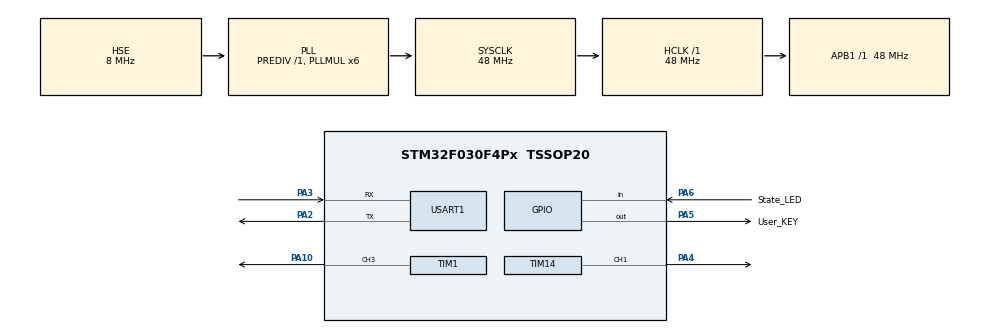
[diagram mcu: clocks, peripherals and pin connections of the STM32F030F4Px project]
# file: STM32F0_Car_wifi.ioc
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Mcu.Family=STM32F0
Mcu.Name=STM32F030F4Px
Mcu.Package=TSSOP20
PA10.Signal=S_TIM1_CH3
PA13.Mode=Serial_Wire
PA13.Signal=SYS_SWDIO
PA14.Mode=Serial_Wire
PA14.Signal=SYS_SWCLK
PA2.Mode=Asynchronous
PA2.Signal=USART1_TX
PA3.Mode=Asynchronous
PA3.Signal=USART1_RX
PA4.Signal=S_TIM14_CH1
PA5.GPIO_Label=User_KEY
PA5.GPIO_Speed=GPIO_SPEED_FREQ_HIGH
PA5.Signal=GPIO_Output
PA6.GPIO_Label=State_LED
PA6.GPIO_PuPd=GPIO_PULLUP
PA6.Signal=GPIO_Input
PB1.Signal=TIM1_CH3N
PF0-OSC_IN.Mode=HSE-External-Clock-Source
PF0-OSC_IN.Signal=RCC_OSC_IN
ProjectManager.HeapSize=0x200
ProjectManager.StackSize=0x400
ProjectManager.TargetToolchain=MDK-ARM V5
RCC.AHBFreq_Value=48000000
RCC.APB1Freq_Value=48000000
RCC.APB1TimFreq_Value=48000000
RCC.HCLKFreq_Value=48000000
RCC.PLLMUL=RCC_PLL_MUL6
RCC.PLLSourceVirtual=RCC_PLLSOURCE_HSE
RCC.SYSCLKFreq_VALUE=48000000
RCC.SYSCLKSource=RCC_SYSCLKSOURCE_PLLCLK
SH.S_TIM14_CH1.0=TIM14_CH1,PWM Generation1 CH1
SH.S_TIM1_CH3.0=TIM1_CH3,Output Compare3 CH3
TIM1.AutoReloadPreload=TIM_AUTORELOAD_PRELOAD_ENABLE
TIM1.BreakState=TIM_BREAK_DISABLE
TIM1.Channel-Output\ Compare3\ CH3=TIM_CHANNEL_3
TIM1.Period=40
TIM1.Prescaler=48
TIM14.Channel=TIM_CHANNEL_1
USART1.VirtualMode-Asynchronous=VM_ASYNC
VP_TIM14_VS_ClockSourceINT.Mode=Enable_Timer
VP_TIM1_VS_ClockSourceINT.Mode=Internal
VP_TIM3_VS_ClockSourceINT.Mode=Internal
board=STM32F0_Car_wifi

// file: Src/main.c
/**
  ******************************************************************************
  * @file           : main.c
  * @brief          : Main program body
  ******************************************************************************
  ** This notice applies to any and all portions of this file
  * that are not between comment pairs USER CODE BEGIN and
  * USER CODE END. Other portions of this file, whether
  * inserted by the user or by software development tools
  * are owned by their respective copyright owners.
  *
  * COPYRIGHT(c) 2018 STMicroelectronics
  *
  * Redistribution and use in source and binary forms, with or without modification,
  * are permitted provided that the following conditions are met:
  *   1. Redistributions of source code must retain the above copyright notice,
  *      this list of conditions and the following disclaimer.
  *   2. Redistributions in binary form must reproduce the above copyright notice,
  *      this list of conditions and the following disclaimer in the documentation
  *      and/or other materials provided with the distribution.
  *   3. Neither the name of STMicroelectronics nor the names of its contributors
  *      may be used to endorse or promote products derived from this software
  *      without specific prior written permission.
  *
  * THIS SOFTWARE IS PROVIDED BY THE COPYRIGHT HOLDERS AND CONTRIBUTORS "AS IS"
  * AND ANY EXPRESS OR IMPLIED WARRANTIES, INCLUDING, BUT NOT LIMITED TO, THE
  * IMPLIED WARRANTIES OF MERCHANTABILITY AND FITNESS FOR A PARTICULAR PURPOSE ARE
  * DISCLAIMED. IN NO EVENT SHALL THE COPYRIGHT HOLDER OR CONTRIBUTORS BE LIABLE
  * FOR ANY DIRECT, INDIRECT, INCIDENTAL, SPECIAL, EXEMPLARY, OR CONSEQUENTIAL
  * DAMAGES (INCLUDING, BUT NOT LIMITED TO, PROCUREMENT OF SUBSTITUTE GOODS OR
  * SERVICES; LOSS OF USE, DATA, OR PROFITS; OR BUSINESS INTERRUPTION) HOWEVER
  * CAUSED AND ON ANY THEORY OF LIABILITY, WHETHER IN CONTRACT, STRICT LIABILITY,
  * OR TORT (INCLUDING NEGLIGENCE OR OTHERWISE) ARISING IN ANY WAY OUT OF THE USE
  * OF THIS SOFTWARE, EVEN IF ADVISED OF THE POSSIBILITY OF SUCH DAMAGE.
  *
  ******************************************************************************
  */
#include "main.h"
#include "stm32f0xx_hal.h"

TIM_HandleTypeDef htim1;
TIM_HandleTypeDef htim3;
TIM_HandleTypeDef htim14;

UART_HandleTypeDef huart1;

/* USER CODE BEGIN PV */
/* Private variables ---------------------------------------------------------*/
/*        可以接收的最大字符个数        */
#define BUFFERSIZE 255
uint8_t ReceiveBuff[BUFFERSIZE];         //接收缓冲区
uint8_t recv_end_flag = 0,Rx_len;        //接收完成中断，接收到字符长度

/* USER CODE END PV */

void SystemClock_Config(void);
static void MX_GPIO_Init(void);
static void MX_TIM1_Init(void);
static void MX_USART1_UART_Init(void);
static void MX_TIM14_Init(void);
static void MX_TIM3_Init(void);
void HAL_TIM_MspPostInit(TIM_HandleTypeDef *htim);

/* USER CODE BEGIN PFP */
/* Private function prototypes -----------------------------------------------*/
void UartDMAGet(void);
#ifdef __GNUC__
#define PUTCHAR_PROTOTYPE int __io_putchar(int ch)
#else
#define PUTCHAR_PROTOTYPE int fputc(int ch, FILE *f)
#endif
PUTCHAR_PROTOTYPE
{
        HAL_UART_Transmit(&huart1 , (uint8_t *)&ch, 1, 0xFFFF);
return ch;
}
/* USER CODE END PFP */

int main(void)
{

  /* MCU Configuration----------------------------------------------------------*/

  /* Reset of all peripherals, Initializes the Flash interface and the Systick. */
  HAL_Init();

  /* Configure the system clock */
  SystemClock_Config();

  /* Initialize all configured peripherals */
  MX_GPIO_Init();
  MX_TIM1_Init();
  MX_USART1_UART_Init();
  MX_TIM14_Init();
  MX_TIM3_Init();
  /* USER CODE BEGIN 2 */
  printf("This is a USART DMA Receive Test!!!\r\n");
        /*        使能串口1 IDLE中断        */
  __HAL_UART_ENABLE_IT(&huart1, UART_IT_IDLE);
  /* USER CODE END 2 */

  /* Infinite loop */
  /* USER CODE BEGIN WHILE */
  while (1)
  {
		UartDMAGet();
  /* USER CODE END WHILE */

  }

}

void SystemClock_Config(void)
{

  RCC_OscInitTypeDef RCC_OscInitStruct;
  RCC_ClkInitTypeDef RCC_ClkInitStruct;
  RCC_PeriphCLKInitTypeDef PeriphClkInit;

    /**Initializes the CPU, AHB and APB busses clocks
    */
  RCC_OscInitStruct.OscillatorType = RCC_OSCILLATORTYPE_HSE;
  RCC_OscInitStruct.HSEState = RCC_HSE_BYPASS;
  RCC_OscInitStruct.PLL.PLLState = RCC_PLL_ON;
  RCC_OscInitStruct.PLL.PLLSource = RCC_PLLSOURCE_HSE;
  RCC_OscInitStruct.PLL.PLLMUL = RCC_PLL_MUL6;
  RCC_OscInitStruct.PLL.PREDIV = RCC_PREDIV_DIV1;
  if (HAL_RCC_OscConfig(&RCC_OscInitStruct) != HAL_OK)
  {
    _Error_Handler(__FILE__, __LINE__);
  }

    /**Initializes the CPU, AHB and APB busses clocks
    */
  RCC_ClkInitStruct.ClockType = RCC_CLOCKTYPE_HCLK|RCC_CLOCKTYPE_SYSCLK
                              |RCC_CLOCKTYPE_PCLK1;
  RCC_ClkInitStruct.SYSCLKSource = RCC_SYSCLKSOURCE_PLLCLK;
  RCC_ClkInitStruct.AHBCLKDivider = RCC_SYSCLK_DIV1;
  RCC_ClkInitStruct.APB1CLKDivider = RCC_HCLK_DIV1;

  if (HAL_RCC_ClockConfig(&RCC_ClkInitStruct, FLASH_LATENCY_1) != HAL_OK)
  {
    _Error_Handler(__FILE__, __LINE__);
  }

  PeriphClkInit.PeriphClockSelection = RCC_PERIPHCLK_USART1;
  PeriphClkInit.Usart1ClockSelection = RCC_USART1CLKSOURCE_PCLK1;
  if (HAL_RCCEx_PeriphCLKConfig(&PeriphClkInit) != HAL_OK)
  {
    _Error_Handler(__FILE__, __LINE__);
  }

    /**Configure the Systick interrupt time
    */
  HAL_SYSTICK_Config(HAL_RCC_GetHCLKFreq()/1000);

    /**Configure the Systick
    */
  HAL_SYSTICK_CLKSourceConfig(SYSTICK_CLKSOURCE_HCLK);

  /* SysTick_IRQn interrupt configuration */
  HAL_NVIC_SetPriority(SysTick_IRQn, 0, 0);
}

/* TIM1 init function */
static void MX_TIM1_Init(void)
{

  TIM_ClockConfigTypeDef sClockSourceConfig;
  TIM_MasterConfigTypeDef sMasterConfig;
  TIM_OC_InitTypeDef sConfigOC;
  TIM_BreakDeadTimeConfigTypeDef sBreakDeadTimeConfig;

  htim1.Instance = TIM1;
  htim1.Init.Prescaler = 0;
  htim1.Init.CounterMode = TIM_COUNTERMODE_UP;
  htim1.Init.Period = 0;
  htim1.Init.ClockDivision = TIM_CLOCKDIVISION_DIV1;
  htim1.Init.RepetitionCounter = 0;
  htim1.Init.AutoReloadPreload = TIM_AUTORELOAD_PRELOAD_DISABLE;
  if (HAL_TIM_Base_Init(&htim1) != HAL_OK)
  {
    _Error_Handler(__FILE__, __LINE__);
  }

  sClockSourceConfig.ClockSource = TIM_CLOCKSOURCE_INTERNAL;
  if (HAL_TIM_ConfigClockSource(&htim1, &sClockSourceConfig) != HAL_OK)
  {
    _Error_Handler(__FILE__, __LINE__);
  }

  if (HAL_TIM_OC_Init(&htim1) != HAL_OK)
  {
    _Error_Handler(__FILE__, __LINE__);
  }

  sMasterConfig.MasterOutputTrigger = TIM_TRGO_RESET;
  sMasterConfig.MasterSlaveMode = TIM_MASTERSLAVEMODE_DISABLE;
  if (HAL_TIMEx_MasterConfigSynchronization(&htim1, &sMasterConfig) != HAL_OK)
  {
    _Error_Handler(__FILE__, __LINE__);
  }

  sConfigOC.OCMode = TIM_OCMODE_TIMING;
  sConfigOC.Pulse = 0;
  sConfigOC.OCPolarity = TIM_OCPOLARITY_HIGH;
  sConfigOC.OCNPolarity = TIM_OCNPOLARITY_HIGH;
  sConfigOC.OCFastMode = TIM_OCFAST_DISABLE;
  sConfigOC.OCIdleState = TIM_OCIDLESTATE_RESET;
  sConfigOC.OCNIdleState = TIM_OCNIDLESTATE_RESET;
  if (HAL_TIM_OC_ConfigChannel(&htim1, &sConfigOC, TIM_CHANNEL_3) != HAL_OK)
  {
    _Error_Handler(__FILE__, __LINE__);
  }

  sBreakDeadTimeConfig.OffStateRunMode = TIM_OSSR_DISABLE;
  sBreakDeadTimeConfig.OffStateIDLEMode = TIM_OSSI_DISABLE;
  sBreakDeadTimeConfig.LockLevel = TIM_LOCKLEVEL_OFF;
  sBreakDeadTimeConfig.DeadTime = 0;
  sBreakDeadTimeConfig.BreakState = TIM_BREAK_DISABLE;
  sBreakDeadTimeConfig.BreakPolarity = TIM_BREAKPOLARITY_HIGH;
  sBreakDeadTimeConfig.AutomaticOutput = TIM_AUTOMATICOUTPUT_DISABLE;
  if (HAL_TIMEx_ConfigBreakDeadTime(&htim1, &sBreakDeadTimeConfig) != HAL_OK)
  {
    _Error_Handler(__FILE__, __LINE__);
  }

  HAL_TIM_MspPostInit(&htim1);

}

/* TIM3 init function */
static void MX_TIM3_Init(void)
{

  TIM_ClockConfigTypeDef sClockSourceConfig;
  TIM_MasterConfigTypeDef sMasterConfig;

  htim3.Instance = TIM3;
  htim3.Init.Prescaler = 0;
  htim3.Init.CounterMode = TIM_COUNTERMODE_UP;
  htim3.Init.Period = 0;
  htim3.Init.ClockDivision = TIM_CLOCKDIVISION_DIV1;
  htim3.Init.AutoReloadPreload = TIM_AUTORELOAD_PRELOAD_DISABLE;
  if (HAL_TIM_Base_Init(&htim3) != HAL_OK)
  {
    _Error_Handler(__FILE__, __LINE__);
  }

  sClockSourceConfig.ClockSource = TIM_CLOCKSOURCE_INTERNAL;
  if (HAL_TIM_ConfigClockSource(&htim3, &sClockSourceConfig) != HAL_OK)
  {
    _Error_Handler(__FILE__, __LINE__);
  }

  sMasterConfig.MasterOutputTrigger = TIM_TRGO_RESET;
  sMasterConfig.MasterSlaveMode = TIM_MASTERSLAVEMODE_DISABLE;
  if (HAL_TIMEx_MasterConfigSynchronization(&htim3, &sMasterConfig) != HAL_OK)
  {
    _Error_Handler(__FILE__, __LINE__);
  }

}

/* TIM14 init function */
static void MX_TIM14_Init(void)
{

  TIM_OC_InitTypeDef sConfigOC;

  htim14.Instance = TIM14;
  htim14.Init.Prescaler = 0;
  htim14.Init.CounterMode = TIM_COUNTERMODE_UP;
  htim14.Init.Period = 0;
  htim14.Init.ClockDivision = TIM_CLOCKDIVISION_DIV1;
  htim14.Init.AutoReloadPreload = TIM_AUTORELOAD_PRELOAD_DISABLE;
  if (HAL_TIM_Base_Init(&htim14) != HAL_OK)
  {
    _Error_Handler(__FILE__, __LINE__);
  }

  if (HAL_TIM_PWM_Init(&htim14) != HAL_OK)
  {
    _Error_Handler(__FILE__, __LINE__);
  }

  sConfigOC.OCMode = TIM_OCMODE_PWM1;
  sConfigOC.Pulse = 0;
  sConfigOC.OCPolarity = TIM_OCPOLARITY_HIGH;
  sConfigOC.OCFastMode = TIM_OCFAST_DISABLE;
  if (HAL_TIM_PWM_ConfigChannel(&htim14, &sConfigOC, TIM_CHANNEL_1) != HAL_OK)
  {
    _Error_Handler(__FILE__, __LINE__);
  }

  HAL_TIM_MspPostInit(&htim14);

}

/* USART1 init function */
static void MX_USART1_UART_Init(void)
{

  huart1.Instance = USART1;
  huart1.Init.BaudRate = 38400;
  huart1.Init.WordLength = UART_WORDLENGTH_8B;
  huart1.Init.StopBits = UART_STOPBITS_1;
  huart1.Init.Parity = UART_PARITY_NONE;
  huart1.Init.Mode = UART_MODE_TX_RX;
  huart1.Init.HwFlowCtl = UART_HWCONTROL_NONE;
  huart1.Init.OverSampling = UART_OVERSAMPLING_16;
  huart1.Init.OneBitSampling = UART_ONE_BIT_SAMPLE_DISABLE;
  huart1.AdvancedInit.AdvFeatureInit = UART_ADVFEATURE_NO_INIT;
  if (HAL_UART_Init(&huart1) != HAL_OK)
  {
    _Error_Handler(__FILE__, __LINE__);
  }

}

/** Configure pins as
        * Analog
        * Input
        * Output
        * EVENT_OUT
        * EXTI
*/
static void MX_GPIO_Init(void)
{

  GPIO_InitTypeDef GPIO_InitStruct;

  /* GPIO Ports Clock Enable */
  __HAL_RCC_GPIOF_CLK_ENABLE();
  __HAL_RCC_GPIOA_CLK_ENABLE();
  __HAL_RCC_GPIOB_CLK_ENABLE();

  /*Configure GPIO pin Output Level */
  HAL_GPIO_WritePin(User_KEY_GPIO_Port, User_KEY_Pin, GPIO_PIN_RESET);

  /*Configure GPIO pin : User_KEY_Pin */
  GPIO_InitStruct.Pin = User_KEY_Pin;
  GPIO_InitStruct.Mode = GPIO_MODE_OUTPUT_PP;
  GPIO_InitStruct.Pull = GPIO_NOPULL;
  GPIO_InitStruct.Speed = GPIO_SPEED_FREQ_HIGH;
  HAL_GPIO_Init(User_KEY_GPIO_Port, &GPIO_InitStruct);

  /*Configure GPIO pin : State_LED_Pin */
  GPIO_InitStruct.Pin = State_LED_Pin;
  GPIO_InitStruct.Mode = GPIO_MODE_INPUT;
  GPIO_InitStruct.Pull = GPIO_PULLUP;
  HAL_GPIO_Init(State_LED_GPIO_Port, &GPIO_InitStruct);

}

/* USER CODE BEGIN 4 */
void UartDMAGet()
{
	if(recv_end_flag ==1)
	{
			/*        打印接收到的数据长度 */
			printf("\nrx_len=%d\r\n",Rx_len);

			for(int i=0;i<Rx_len;i++)
			{
				/*        打印接收到的数据 */
				printf("%c",ReceiveBuff[i]);
			}
			printf("\r\n");
			/*        清空接收缓存区        */
			for(int i = 0; i < Rx_len ; i++)
				ReceiveBuff[i]=0;
			/*        接收数据长度清零        */
			Rx_len=0;
			recv_end_flag=0;
	}
	/*     开启下一次接收        */
	HAL_UART_Receive_DMA(&huart1,(uint8_t*)ReceiveBuff,BUFFERSIZE);
}
/* USER CODE END 4 */

void _Error_Handler(char *file, int line)
{
  while(1)
  {
  }
}

/************************ (C) COPYRIGHT STMicroelectronics *****END OF FILE****/
